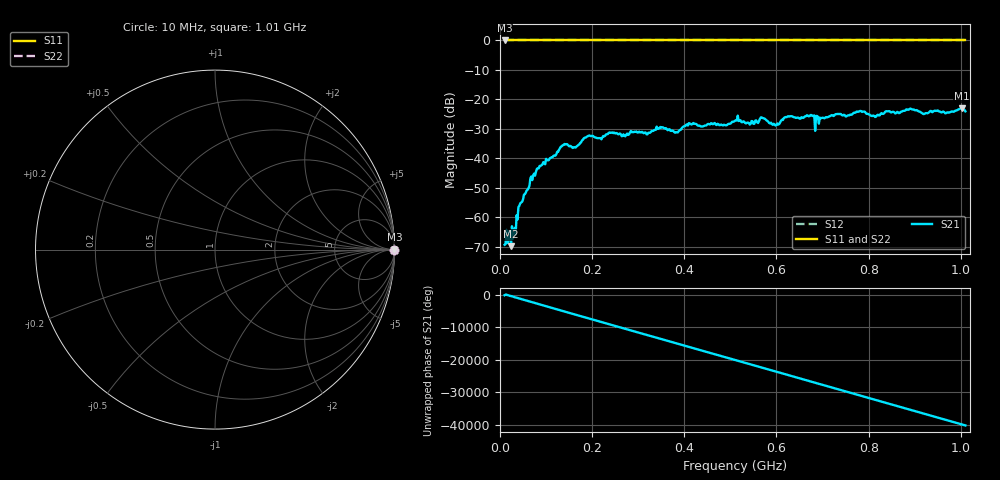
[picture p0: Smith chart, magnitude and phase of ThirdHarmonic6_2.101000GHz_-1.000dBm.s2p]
! 8/17/2025 1:08:21 AM
! C:\ANRITSUVNA\TEMP\TEMP.S2P
! CHANNEL.1
! TR.MEASUREMENT
! RAW.DATA
! RF.CORRECTION.OFF
! AVERAGING.OFF
! IF.BANDWIDTH: 5KHZ
! SWEEPTYPE:  FREQ.SWEEP(Linear)
! Reference Plane Port Info
! PORT:  PORT1  PORT2
! DISTANCE:  0  m  0  m
! TIME:  0  s  0  s
! PHASE.OFFSET:  0  deg.  0  deg.
! LOSS:  0  dB  0  dB
! REF.LOSS:  0  dB  0  dB
! REF.FREQ:  0  Hz  0  Hz
! Power Info
! POWER:  -20  dBm  -20  dBm
! EFF.POWER:  -20  dBm  -20  dBm
! SOURCE.ATTEN:  0  dB  0  dB
! TEST.ATTEN:  0  dB  0  dB
# GHZ S RI R 50.0
! FREQ.GHZ  S11RE  S11IM  S21RE  S21IM  S12RE  S12IM  S22RE  S22IM
!; PortSelection: Port_12
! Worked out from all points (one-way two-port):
!   501 points, 10 MHz to 1.01 GHz, reference 50 ohm
!   highest |S21| = -23.07 dB at 1.002 GHz (marker M1); lowest = -69.8 dB at 24 MHz (marker M2)
!   lowest |S11| = 0.0 dB at 10 MHz (marker M3)
!   |S11| at or under -10 dB: nowhere
!   |S22| runs from 0.0 to 0.0 dB; largest |S21 - S12| = 1.1
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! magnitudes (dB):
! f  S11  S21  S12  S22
! 10 MHz  0.0  -69.3  0.0  0.0
! 24 MHz  0.0  -69.8  0.0  0.0
! 32 MHz  0.0  -63.6  0.0  0.0
! 44 MHz  0.0  -55.3  0.0  0.0
! 82 MHz  0.0  -43.4  0.0  0.0
! 136 MHz  0.0  -35.6  0.0  0.0
! 162 MHz  0.0  -36.2  0.0  0.0
! 178 MHz  0.0  -33.9  0.0  0.0
! 344 MHz  0.0  -30.0  0.0  0.0
! 382 MHz  0.0  -31.1  0.0  0.0
! 408 MHz  0.0  -28.9  0.0  0.0
! 510 MHz  0.0  -27.2  0.0  0.0
! 570 MHz  0.0  -26.3  0.0  0.0
! 600 MHz  0.0  -28.7  0.0  0.0
! 622 MHz  0.0  -26.1  0.0  0.0
! 678 MHz  0.0  -25.6  0.0  0.0
! 688 MHz  0.0  -25.6  0.0  0.0
! 732 MHz  0.0  -25.0  0.0  0.0
! 812 MHz  0.0  -25.6  0.0  0.0
! 844 MHz  0.0  -24.0  0.0  0.0
! 1.002 GHz  0.0  -23.1  0.0  0.0
! 1.01 GHz  0.0  -24.1  0.0  0.0
